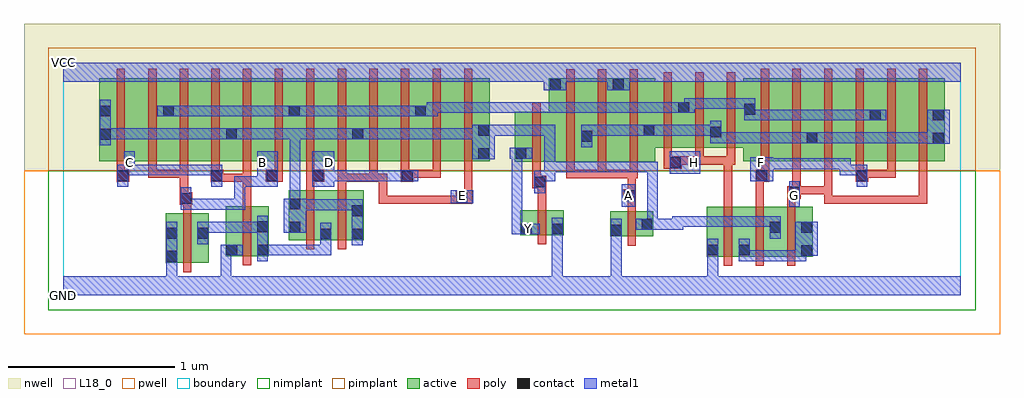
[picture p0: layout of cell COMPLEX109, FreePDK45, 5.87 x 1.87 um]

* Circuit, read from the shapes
.subckt COMPLEX109 A B C D E F G GND H VCC Y
M1 n1 B GND VSUBS nfet w=0.3u l=0.05u
M2 n1 C GND VSUBS nfet w=0.3u l=0.05u
M3 n1 D n2 VSUBS nfet w=0.3u l=0.05u
M4 n2 E n1 VSUBS nfet w=0.3u l=0.05u
M5 GND n2 Y VSUBS nfet w=0.15u l=0.05u
M6 n2 A GND VSUBS nfet w=0.15u l=0.05u
M7 n3 H GND VSUBS nfet w=0.3u l=0.05u
M8 n2 F n3 VSUBS nfet w=0.3u l=0.05u
M9 n3 G n2 VSUBS nfet w=0.3u l=0.05u
M10 n4 C n2 n5 pfet w=0.5u l=0.05u
M11 n6 B n4 n5 pfet w=0.5u l=0.05u
M12 n7 B n6 n5 pfet w=0.5u l=0.05u
M13 n2 C n7 n5 pfet w=0.5u l=0.05u
M14 n8 C n2 n5 pfet w=0.5u l=0.05u
M15 n6 B n8 n5 pfet w=0.5u l=0.05u
M16 n9 D n6 n5 pfet w=0.5u l=0.05u
M17 n2 E n9 n5 pfet w=0.5u l=0.05u
M18 n10 E n2 n5 pfet w=0.5u l=0.05u
M19 n6 D n10 n5 pfet w=0.5u l=0.05u
M20 n11 D n6 n5 pfet w=0.5u l=0.05u
M21 n2 E n11 n5 pfet w=0.5u l=0.05u
M22 VCC n2 Y n5 pfet w=0.3u l=0.05u
M23 n12 A VCC n5 pfet w=0.5u l=0.05u m=3
M24 n6 H n12 n5 pfet w=0.4u l=0.05u m=3
M25 n13 F n6 n5 pfet w=0.5u l=0.05u
M26 n12 G n13 n5 pfet w=0.5u l=0.05u
M27 n14 G n12 n5 pfet w=0.5u l=0.05u
M28 n6 F n14 n5 pfet w=0.5u l=0.05u
M29 n15 F n6 n5 pfet w=0.5u l=0.05u
M30 n12 G n15 n5 pfet w=0.5u l=0.05u
.ends

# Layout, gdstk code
import gdstk
lib = gdstk.Library(unit=1e-6, precision=1e-09)
def R(c, l, rs):  # rectangles x0, y0, x1, y1
    for r in rs: c.add(gdstk.rectangle(r[:2], r[2:], *l))
def A(c, l, x, y, w, h, nx, ny, dx, dy):  # array of equal rectangles
    R(c, l, [(x+i*dx, y+j*dy, x+i*dx+w, y+j*dy+h) for i in range(nx) for j in range(ny)])
active = (1, 0)
pwell = (2, 0)
nwell = (3, 0)
nimplant = (4, 0)
pimplant = (5, 0)
poly = (9, 0)
contact = (10, 0)
metal1 = (11, 0)
L18_0 = (18, 0)
boundary = (235, 0)

complex109 = lib.new_cell('COMPLEX109')
A(complex109, active, 4.317, 0.807, 0.225, 0.5, 3, 1, 0.38, 0)
R(complex109, active, [(0.617,0.195,0.692,0.495), (0.617,0.195,0.877,0.495), (0.802,0.2,0.877,0.482), (3.87,0.232,3.945,0.532), (3.87,0.232,4.135,0.532), (4.06,0.232,4.32,0.532), (4.245,0.232,4.51,0.532), (4.435,0.232,4.51,0.532), (0.977,0.235,1.237,0.535), (0.977,0.235,1.052,0.392), (1.162,0.235,1.237,0.535), (4.06,0.235,4.135,0.392), (4.245,0.33,4.32,0.447), (1.357,0.332,1.432,0.632), (1.357,0.332,1.617,0.632), (1.542,0.332,1.807,0.632), (1.542,0.332,1.617,0.497), (1.732,0.332,1.807,0.632), (3.29,0.355,3.55,0.505), (3.29,0.355,3.365,0.505), (2.75,0.362,3.01,0.512), (2.75,0.362,2.825,0.512), (2.935,0.362,3.01,0.512), (3.475,0.39,3.55,0.505), (2.717,0.805,2.997,1.105), (2.922,0.805,3.187,1.305), (3.112,0.805,3.377,1.305), (3.302,0.805,3.562,1.305), (0.217,0.807,0.442,1.307), (0.217,0.807,0.322,1.2), (0.442,0.807,0.672,1.307), (0.597,0.807,0.672,1.2), (0.597,0.807,0.822,1.307), (0.822,0.807,1.05,1.307), (0.975,0.807,1.05,1.07), (0.975,0.807,1.202,1.307), (1.202,0.807,1.427,1.307), (1.352,0.807,1.427,1.2), (1.352,0.807,1.582,1.307), (1.582,0.807,1.81,1.307), (1.735,0.807,1.81,1.07), (1.735,0.807,1.962,1.307), (1.962,0.807,2.187,1.307), (2.112,0.807,2.187,1.2), (2.112,0.807,2.342,1.307), (2.342,0.807,2.567,1.307), (2.492,0.807,2.567,1.07), (3.112,0.807,3.187,1.07), (3.302,0.807,3.377,1.305), (4.092,0.807,4.317,1.307), (4.467,0.807,4.697,1.307), (4.467,0.807,4.542,1.07), (4.847,0.807,4.922,1.2), (4.847,0.807,5.077,1.307), (5.227,0.807,5.302,1.2), (2.717,0.817,2.792,0.917), (2.922,0.865,2.997,1.305), (3.487,0.887,3.562,1.07), (3.487,0.887,3.77,1.287), (3.695,0.887,3.962,1.287), (3.695,0.887,3.77,1.2), (3.887,0.887,4.167,1.287), (3.887,0.887,3.962,1.07), (4.092,0.907,4.167,1.2)])
R(complex109, pwell, [(-0.235,-0.235,5.635,0.75)])
R(complex109, nwell, [(-0.235,0.75,5.635,1.635)])
R(complex109, nimplant, [(-0.09,-0.09,5.49,0.75)])
R(complex109, pimplant, [(-0.09,0.75,5.49,1.49)])
A(complex109, poly, 3.975, 0.177, 0.05, 0.41, 3, 1, 0.19, 0)
A(complex109, poly, 3.027, 0.705, 0.05, 0.095, 3, 1, 0.19, 0)
A(complex109, poly, 0.322, 0.707, 0.05, 0.095, 4, 1, 0.19, 0)
A(complex109, poly, 3.027, 0.75, 0.05, 0.61, 3, 1, 0.19, 0)
A(complex109, poly, 0.322, 0.752, 0.05, 0.61, 12, 1, 0.19, 0)
A(complex109, poly, 4.197, 0.752, 0.05, 0.61, 6, 1, 0.19, 0)
A(complex109, poly, 3.612, 0.787, 0.05, 0.095, 3, 1, 0.19, 0)
A(complex109, poly, 3.612, 0.832, 0.05, 0.51, 3, 1, 0.19, 0)
R(complex109, poly, [(0.722,0.14,0.772,0.55), (1.082,0.18,1.132,0.59), (1.462,0.277,1.512,0.687), (1.652,0.277,1.702,0.687), (3.395,0.3,3.445,0.56), (2.855,0.307,2.905,0.567), (0.722,0.5,0.772,0.595), (3.395,0.51,3.445,0.612), (2.855,0.517,2.905,0.695), (3.975,0.537,4.025,0.837), (4.165,0.537,4.215,0.732), (4.355,0.537,4.405,0.632), (1.082,0.54,1.132,0.732), (0.702,0.545,0.777,0.62), (1.9,0.55,2.082,0.6), (1.9,0.55,1.95,0.732), (2.032,0.55,2.082,0.6), (2.032,0.55,2.082,0.6), (2.032,0.55,2.082,0.6), (2.032,0.55,2.24,0.6), (2.19,0.55,2.24,0.6), (2.19,0.55,2.412,0.6), (2.362,0.55,2.412,0.6), (2.362,0.55,2.412,0.6), (2.362,0.55,2.412,0.6), (2.362,0.55,2.412,0.6), (2.362,0.55,2.462,0.625), (4.577,0.55,4.627,0.6), (4.577,0.55,4.627,0.6), (4.577,0.55,4.627,0.6), (4.577,0.55,4.875,0.6), (4.577,0.55,4.627,0.657), (4.825,0.55,4.875,0.6), (4.825,0.55,4.875,0.6), (4.825,0.55,4.875,0.6), (4.825,0.55,5.007,0.6), (4.957,0.55,5.007,0.6), (4.957,0.55,5.197,0.6), (5.147,0.55,5.197,0.802), (5.147,0.55,5.197,0.6), (5.147,0.55,5.197,0.6), (5.147,0.55,5.197,0.6), (5.147,0.55,5.197,0.6), (5.147,0.55,5.197,0.6), (3.37,0.562,3.445,0.637), (0.702,0.57,0.752,0.757), (2.412,0.575,2.462,0.802), (4.355,0.582,4.437,0.657), (3.395,0.587,3.445,0.755), (4.387,0.607,4.437,0.657), (4.387,0.607,4.437,0.657), (4.387,0.607,4.437,0.657), (4.387,0.607,4.437,0.657), (4.387,0.607,4.627,0.657), (4.387,0.607,4.437,0.802), (4.577,0.607,4.627,0.657), (4.577,0.607,4.627,0.802), (1.462,0.637,1.512,0.732), (1.652,0.637,1.702,0.732), (2.822,0.645,2.905,0.72), (2.855,0.645,2.905,0.695), (2.855,0.645,2.905,0.695), (2.822,0.67,2.872,0.8), (0.322,0.682,0.397,0.757), (0.887,0.682,0.962,0.757), (0.912,0.682,0.962,0.732), (0.912,0.682,0.962,0.732), (0.912,0.682,1.132,0.732), (1.082,0.682,1.132,0.732), (1.082,0.682,1.132,0.732), (1.082,0.682,1.132,0.732), (1.082,0.682,1.132,0.802), (1.22,0.682,1.322,0.757), (1.462,0.682,1.512,0.732), (1.462,0.682,1.512,0.732), (1.462,0.682,1.57,0.757), (1.652,0.682,1.702,0.732), (1.652,0.682,1.702,0.732), (1.652,0.682,1.702,0.732), (1.652,0.682,1.702,0.732), (1.652,0.682,1.702,0.732), (1.652,0.682,1.892,0.732), (1.652,0.682,1.702,0.802), (1.842,0.682,1.892,0.732), (1.842,0.682,1.892,0.732), (1.842,0.682,1.892,0.732), (1.842,0.682,1.95,0.732), (1.842,0.682,1.892,0.802), (2.032,0.682,2.107,0.757), (4.165,0.682,4.215,0.732), (4.165,0.682,4.215,0.732), (4.165,0.682,4.247,0.757), (4.767,0.682,4.842,0.757), (3.027,0.705,3.077,0.755), (3.027,0.705,3.11,0.755), (3.06,0.705,3.11,0.755), (3.06,0.705,3.267,0.755), (3.217,0.705,3.267,0.755), (3.217,0.705,3.445,0.755), (3.395,0.705,3.445,0.755), (3.395,0.705,3.445,0.755), (3.395,0.705,3.457,0.755), (0.512,0.707,0.562,0.757), (0.512,0.707,0.562,0.757), (0.512,0.707,0.562,0.757), (0.512,0.707,0.752,0.757), (0.702,0.707,0.752,0.757), (1.272,0.707,1.322,0.802), (1.462,0.707,1.512,0.802), (2.032,0.707,2.082,0.802), (2.057,0.707,2.107,0.757), (2.057,0.707,2.107,0.757), (2.057,0.707,2.272,0.757), (2.222,0.707,2.272,0.757), (2.222,0.707,2.272,0.802), (4.197,0.707,4.247,0.802), (4.767,0.707,4.817,0.802), (4.792,0.707,5.007,0.757), (4.957,0.707,5.007,0.757), (4.957,0.707,5.007,0.757), (4.957,0.707,5.007,0.757), (4.957,0.707,5.007,0.802), (2.822,0.75,2.872,1.16), (3.612,0.762,3.72,0.837), (3.67,0.787,3.72,0.837), (3.67,0.787,3.72,0.837), (3.67,0.787,3.852,0.837), (3.802,0.787,3.852,0.837), (3.802,0.787,4.025,0.837), (3.975,0.787,4.025,0.837), (3.975,0.787,4.025,0.837), (3.975,0.787,4.025,0.837), (3.975,0.787,4.025,0.837), (3.975,0.787,4.042,0.837)])
R(complex109, contact, [(0.622,0.202,0.687,0.267), (4.44,0.237,4.505,0.302), (0.982,0.24,1.047,0.305), (1.167,0.24,1.232,0.305), (3.875,0.24,3.94,0.305), (4.065,0.24,4.13,0.305), (1.547,0.337,1.612,0.402), (1.737,0.337,1.802,0.402), (0.622,0.342,0.687,0.407), (0.807,0.342,0.872,0.407), (3.295,0.36,3.36,0.425), (2.755,0.367,2.82,0.432), (2.94,0.367,3.005,0.432), (1.362,0.377,1.427,0.442), (4.25,0.377,4.315,0.442), (4.44,0.377,4.505,0.442), (1.167,0.38,1.232,0.445), (3.48,0.395,3.545,0.46), (1.737,0.477,1.802,0.542), (1.362,0.517,1.427,0.582), (0.707,0.55,0.772,0.615), (2.367,0.555,2.432,0.62), (3.375,0.567,3.44,0.632), (4.367,0.587,4.432,0.652), (2.835,0.65,2.9,0.715), (0.327,0.687,0.392,0.752), (0.892,0.687,0.957,0.752), (1.225,0.687,1.29,0.752), (1.5,0.687,1.565,0.752), (2.037,0.687,2.102,0.752), (4.17,0.687,4.235,0.752), (4.772,0.687,4.837,0.752), (3.65,0.767,3.715,0.832), (2.497,0.82,2.562,0.885), (2.722,0.822,2.787,0.887), (5.232,0.912,5.297,0.977), (4.472,0.915,4.537,0.98), (3.117,0.925,3.182,0.99), (0.222,0.937,0.287,1.002), (0.98,0.94,1.045,1.005), (1.74,0.94,1.805,1.005), (3.892,0.95,3.957,1.015), (2.497,0.96,2.562,1.025), (3.492,0.96,3.557,1.025), (4.852,1.052,4.917,1.117), (5.232,1.052,5.297,1.117), (0.222,1.077,0.287,1.142), (0.602,1.077,0.667,1.142), (1.357,1.077,1.422,1.142), (2.117,1.077,2.182,1.142), (4.097,1.087,4.162,1.152), (3.7,1.097,3.765,1.162), (2.927,1.235,2.992,1.3), (3.307,1.235,3.372,1.3)])
R(complex109, metal1, [(0,0,5.4,0.115), (0.622,0.05,0.687,0.115), (0.622,0.05,0.687,0.115), (0.622,0.05,0.687,0.232), (0.947,0.05,1.012,0.115), (0.947,0.05,1.012,0.115), (0.947,0.05,1.012,0.305), (2.94,0.05,3.005,0.397), (3.295,0.05,3.36,0.115), (3.295,0.05,3.36,0.115), (3.295,0.05,3.36,0.39), (3.875,0.05,3.94,0.115), (3.875,0.05,3.94,0.115), (3.875,0.05,3.94,0.27), (0.622,0.167,0.687,0.442), (1.167,0.205,1.232,0.48), (3.875,0.205,3.94,0.34), (4.065,0.205,4.13,0.27), (4.065,0.205,4.13,0.27), (4.065,0.205,4.13,0.34), (4.065,0.205,4.3,0.27), (4.235,0.205,4.3,0.27), (4.235,0.205,4.47,0.27), (4.405,0.205,4.47,0.302), (4.405,0.237,4.47,0.302), (4.405,0.237,4.54,0.442), (0.947,0.24,1.082,0.305), (1.167,0.24,1.232,0.305), (1.167,0.24,1.232,0.305), (1.167,0.24,1.387,0.305), (1.322,0.24,1.387,0.305), (1.322,0.24,1.612,0.305), (1.547,0.24,1.612,0.367), (1.547,0.302,1.612,0.367), (1.547,0.302,1.612,0.437), (1.737,0.302,1.802,0.577), (0.807,0.307,0.872,0.442), (3.295,0.325,3.36,0.39), (3.295,0.325,3.36,0.39), (3.295,0.325,3.36,0.46), (2.94,0.332,3.005,0.397), (2.94,0.332,3.005,0.397), (2.94,0.332,3.005,0.397), (2.94,0.332,3.005,0.397), (2.94,0.332,3.005,0.467), (4.25,0.342,4.315,0.477), (2.697,0.367,2.762,0.432), (2.697,0.367,2.762,0.432), (2.697,0.367,2.867,0.432), (2.697,0.367,2.762,0.887), (2.72,0.367,2.785,0.432), (2.72,0.367,2.855,0.432), (0.807,0.377,0.91,0.442), (0.845,0.377,0.91,0.442), (0.845,0.377,1.095,0.442), (1.03,0.377,1.095,0.442), (1.03,0.377,1.095,0.442), (1.03,0.377,1.095,0.442), (1.03,0.377,1.232,0.442), (1.327,0.377,1.462,0.582), (3.445,0.395,3.58,0.46), (3.512,0.395,3.577,0.805), (3.515,0.395,3.58,0.46), (3.515,0.395,3.58,0.46), (3.515,0.395,3.73,0.46), (3.665,0.395,3.73,0.46), (3.665,0.395,3.73,0.46), (3.665,0.395,3.73,0.477), (3.665,0.412,3.992,0.477), (3.927,0.412,3.992,0.477), (3.927,0.412,3.992,0.477), (3.927,0.412,3.992,0.477), (3.927,0.412,4.162,0.477), (4.097,0.412,4.162,0.477), (4.097,0.412,4.162,0.477), (4.097,0.412,4.162,0.477), (4.097,0.412,4.315,0.477), (1.397,0.512,1.632,0.577), (1.567,0.512,1.632,0.577), (1.567,0.512,1.632,0.577), (1.567,0.512,1.632,0.577), (1.567,0.512,1.77,0.577), (1.705,0.512,1.77,0.577), (1.705,0.512,1.802,0.577), (0.707,0.515,0.872,0.58), (0.707,0.515,0.772,0.65), (0.807,0.515,0.872,0.58), (0.807,0.515,0.91,0.58), (0.845,0.515,0.91,0.58), (0.845,0.515,1.095,0.58), (1.03,0.515,1.095,0.58), (1.03,0.515,1.095,0.717), (1.362,0.517,1.427,0.582), (1.362,0.517,1.427,0.582), (1.362,0.517,1.427,1.005), (3.36,0.532,3.44,0.667), (4.367,0.532,4.432,0.687), (2.332,0.555,2.467,0.632), (2.835,0.615,2.9,0.75), (0.327,0.652,0.392,0.787), (0.892,0.652,0.957,0.787), (1.03,0.652,1.095,0.717), (1.03,0.652,1.095,0.717), (1.03,0.652,1.095,0.717), (1.03,0.652,1.232,0.717), (1.167,0.652,1.232,0.717), (1.167,0.652,1.232,0.717), (1.167,0.652,1.29,0.867), (1.5,0.652,1.632,0.867), (4.772,0.652,4.837,0.787), (2.835,0.685,2.96,0.75), (2.895,0.685,2.96,0.805), (1.567,0.687,1.632,0.752), (1.567,0.687,1.632,0.752), (1.567,0.687,1.792,0.752), (1.727,0.687,1.792,0.752), (1.727,0.687,1.792,0.752), (1.727,0.687,1.792,0.752), (1.727,0.687,1.93,0.752), (1.865,0.687,1.93,0.752), (1.865,0.687,1.977,0.752), (1.912,0.687,1.977,0.752), (1.912,0.687,2.067,0.752), (2.002,0.687,2.137,0.752), (4.132,0.687,4.27,0.832), (0.327,0.722,0.432,0.787), (0.367,0.722,0.53,0.787), (0.367,0.722,0.432,0.867), (0.465,0.722,0.53,0.787), (0.465,0.722,0.735,0.787), (0.67,0.722,0.735,0.787), (0.67,0.722,0.735,0.787), (0.67,0.722,0.735,0.787), (0.67,0.722,0.872,0.787), (0.807,0.722,0.872,0.787), (0.807,0.722,0.957,0.787), (4.672,0.722,4.837,0.787), (4.672,0.722,4.737,0.825), (3.65,0.732,3.832,0.867), (2.895,0.74,3.097,0.805), (2.895,0.74,2.96,1.025), (3.032,0.74,3.097,0.805), (3.032,0.74,3.2,0.805), (3.135,0.74,3.2,0.805), (3.135,0.74,3.235,0.805), (3.17,0.74,3.235,0.805), (3.17,0.74,3.372,0.805), (3.307,0.74,3.372,0.805), (3.307,0.74,3.372,0.805), (3.307,0.74,3.372,0.805), (3.307,0.74,3.577,0.805), (3.512,0.74,3.577,0.805), (3.512,0.74,3.577,0.805), (3.512,0.74,3.577,0.805), (4.205,0.76,4.3,0.825), (4.235,0.76,4.3,0.825), (4.235,0.76,4.437,0.825), (4.372,0.76,4.437,0.825), (4.372,0.76,4.437,0.825), (4.372,0.76,4.437,0.825), (4.372,0.76,4.7,0.825), (4.635,0.76,4.7,0.825), (4.635,0.76,4.737,0.825), (2.462,0.82,2.597,1.025), (2.687,0.822,2.822,0.887), (3.117,0.89,3.182,1.025), (0.222,0.902,0.287,1.177), (5.197,0.912,5.332,1.117), (3.892,0.915,3.957,0.98), (3.892,0.915,3.957,0.98), (3.892,0.915,3.957,1.05), (3.892,0.915,4.162,0.98), (4.097,0.915,4.162,0.98), (4.097,0.915,4.162,0.98), (4.097,0.915,4.162,0.98), (4.097,0.915,4.3,0.98), (4.235,0.915,4.3,0.98), (4.235,0.915,4.502,0.98), (4.437,0.915,4.502,0.98), (4.437,0.915,4.502,0.98), (4.437,0.915,4.572,0.98), (4.507,0.915,4.64,0.98), (4.575,0.915,4.64,0.98), (4.575,0.915,4.745,0.98), (4.68,0.915,4.745,0.98), (4.68,0.915,4.987,0.98), (4.922,0.915,4.987,0.98), (4.922,0.915,4.987,0.98), (4.922,0.915,4.987,0.98), (4.922,0.915,5.125,0.98), (5.06,0.915,5.125,0.98), (5.06,0.915,5.125,0.98), (5.06,0.915,5.125,0.98), (5.06,0.915,5.262,0.98), (5.197,0.915,5.262,0.98), (5.197,0.915,5.262,0.98), (0.222,0.94,0.287,1.005), (0.222,0.94,0.287,1.005), (0.222,0.94,0.495,1.005), (0.43,0.94,0.495,1.005), (0.43,0.94,0.53,1.005), (0.465,0.94,0.53,1.005), (0.465,0.94,0.667,1.005), (0.602,0.94,0.667,1.005), (0.602,0.94,0.667,1.005), (0.602,0.94,0.667,1.005), (0.602,0.94,0.872,1.005), (0.807,0.94,0.872,1.005), (0.807,0.94,0.91,1.005), (0.845,0.94,0.91,1.005), (0.845,0.94,1.01,1.005), (0.945,0.94,1.08,1.005), (1.015,0.94,1.095,1.005), (1.03,0.94,1.095,1.005), (1.03,0.94,1.25,1.005), (1.185,0.94,1.25,1.005), (1.185,0.94,1.25,1.005), (1.185,0.94,1.25,1.005), (1.185,0.94,1.427,1.005), (1.362,0.94,1.427,1.005), (1.362,0.94,1.427,1.005), (1.362,0.94,1.427,1.005), (1.362,0.94,1.6,1.005), (1.535,0.94,1.6,1.005), (1.535,0.94,1.6,1.005), (1.535,0.94,1.6,1.005), (1.535,0.94,1.77,1.005), (1.705,0.94,1.77,1.005), (1.705,0.94,1.77,1.005), (1.705,0.94,1.84,1.005), (1.775,0.94,1.93,1.005), (1.865,0.94,1.93,1.005), (1.865,0.94,1.977,1.005), (1.912,0.94,1.977,1.005), (1.912,0.94,2.115,1.005), (2.05,0.94,2.115,1.005), (2.05,0.94,2.115,1.005), (2.05,0.94,2.115,1.005), (2.05,0.94,2.252,1.005), (2.187,0.94,2.252,1.005), (2.187,0.94,2.39,1.005), (2.325,0.94,2.39,1.005), (2.325,0.94,2.39,1.005), (2.325,0.94,2.39,1.005), (2.325,0.94,2.527,1.005), (2.532,0.96,2.597,1.025), (2.532,0.96,2.597,1.025), (2.532,0.96,2.597,1.025), (2.532,0.96,2.597,1.025), (2.532,0.96,2.96,1.025), (2.895,0.96,2.96,1.025), (2.895,0.96,2.96,1.025), (2.895,0.96,2.96,1.025), (2.895,0.96,2.96,1.025), (2.895,0.96,2.96,1.025), (3.117,0.96,3.235,1.025), (3.17,0.96,3.235,1.025), (3.17,0.96,3.372,1.025), (3.307,0.96,3.372,1.025), (3.307,0.96,3.372,1.025), (3.307,0.96,3.372,1.025), (3.307,0.96,3.522,1.025), (3.457,0.96,3.592,1.025), (3.527,0.96,3.592,1.025), (3.527,0.96,3.592,1.025), (3.527,0.96,3.73,1.025), (3.665,0.96,3.73,1.025), (3.665,0.96,3.73,1.025), (3.665,0.96,3.73,1.025), (3.665,0.96,3.957,1.025), (4.097,1.052,4.162,1.117), (4.097,1.052,4.162,1.117), (4.097,1.052,4.3,1.117), (4.097,1.052,4.162,1.187), (4.235,1.052,4.3,1.117), (4.235,1.052,4.502,1.117), (4.437,1.052,4.502,1.117), (4.437,1.052,4.502,1.117), (4.437,1.052,4.502,1.117), (4.437,1.052,4.7,1.117), (4.635,1.052,4.7,1.117), (4.635,1.052,4.71,1.117), (4.645,1.052,4.71,1.117), (4.645,1.052,4.882,1.117), (4.817,1.052,4.882,1.117), (4.817,1.052,4.882,1.117), (4.817,1.052,4.952,1.117), (0.567,1.077,0.702,1.142), (0.637,1.077,0.702,1.142), (0.637,1.077,0.702,1.142), (0.637,1.077,0.872,1.142), (0.807,1.077,0.872,1.142), (0.807,1.077,0.957,1.142), (0.892,1.077,0.957,1.142), (0.892,1.077,1.095,1.142), (1.03,1.077,1.095,1.142), (1.03,1.077,1.095,1.142), (1.03,1.077,1.095,1.142), (1.03,1.077,1.25,1.142), (1.185,1.077,1.25,1.142), (1.185,1.077,1.25,1.142), (1.185,1.077,1.25,1.142), (1.185,1.077,1.387,1.142), (1.322,1.077,1.457,1.142), (1.392,1.077,1.6,1.142), (1.535,1.077,1.6,1.142), (1.535,1.077,1.6,1.142), (1.535,1.077,1.6,1.142), (1.535,1.077,1.77,1.142), (1.705,1.077,1.77,1.142), (1.705,1.077,1.77,1.142), (1.705,1.077,1.77,1.142), (1.705,1.077,1.93,1.142), (1.865,1.077,1.93,1.142), (1.865,1.077,1.977,1.142), (1.912,1.077,1.977,1.142), (1.912,1.077,2.115,1.142), (2.05,1.077,2.115,1.142), (2.05,1.077,2.147,1.142), (2.082,1.077,2.217,1.142), (2.152,1.077,2.252,1.142), (2.187,1.077,2.252,1.162), (2.187,1.097,2.39,1.162), (2.325,1.097,2.39,1.162), (2.325,1.097,2.39,1.162), (2.325,1.097,2.39,1.162), (2.325,1.097,2.527,1.162), (2.462,1.097,2.527,1.162), (2.462,1.097,2.527,1.162), (2.462,1.097,2.527,1.162), (2.462,1.097,2.96,1.162), (2.895,1.097,2.96,1.162), (2.895,1.097,2.96,1.162), (2.895,1.097,2.96,1.162), (2.895,1.097,3.097,1.162), (3.032,1.097,3.097,1.162), (3.032,1.097,3.2,1.162), (3.135,1.097,3.2,1.162), (3.135,1.097,3.235,1.162), (3.17,1.097,3.235,1.162), (3.17,1.097,3.372,1.162), (3.307,1.097,3.372,1.162), (3.307,1.097,3.372,1.162), (3.307,1.097,3.372,1.162), (3.307,1.097,3.577,1.162), (3.512,1.097,3.577,1.162), (3.512,1.097,3.577,1.162), (3.512,1.097,3.577,1.162), (3.512,1.097,3.73,1.162), (3.665,1.097,3.8,1.162), (3.735,1.097,3.8,1.162), (3.735,1.097,3.8,1.187), (3.735,1.122,3.992,1.187), (3.927,1.122,3.992,1.187), (3.927,1.122,3.992,1.187), (3.927,1.122,3.992,1.187), (3.927,1.122,4.162,1.187), (2.892,1.235,3.027,1.3), (2.962,1.235,3.027,1.35), (3.272,1.235,3.407,1.3), (3.342,1.235,3.407,1.35), (0,1.285,5.4,1.4)])
A(complex109, L18_0, 2.367, 0.567, 0.065, 0.065, 3, 1, 1, 0)
R(complex109, L18_0, [(0,0,5.4,0.115), (0.622,0.05,0.687,0.115), (0.622,0.05,0.687,0.115), (0.622,0.05,0.687,0.232), (0.947,0.05,1.012,0.115), (0.947,0.05,1.012,0.115), (0.947,0.05,1.012,0.305), (2.94,0.05,3.005,0.397), (3.295,0.05,3.36,0.115), (3.295,0.05,3.36,0.115), (3.295,0.05,3.36,0.39), (3.875,0.05,3.94,0.115), (3.875,0.05,3.94,0.115), (3.875,0.05,3.94,0.27), (0.622,0.167,0.687,0.442), (3.875,0.205,3.94,0.34), (0.947,0.24,1.082,0.305), (3.295,0.325,3.36,0.46), (3.295,0.325,3.36,0.39), (3.295,0.325,3.36,0.39), (2.94,0.332,3.005,0.467), (2.94,0.332,3.005,0.397), (2.94,0.332,3.005,0.397), (2.94,0.332,3.005,0.397), (2.94,0.332,3.005,0.397), (2.697,0.367,2.762,0.432), (2.697,0.367,2.762,0.432), (2.697,0.367,2.867,0.432), (2.697,0.367,2.762,0.887), (2.72,0.367,2.785,0.432), (2.72,0.367,2.855,0.432), (2.767,0.367,2.832,0.432), (0.707,0.515,0.772,0.65), (0.707,0.515,0.872,0.58), (0.807,0.515,0.872,0.58), (0.807,0.515,0.91,0.58), (0.845,0.515,0.91,0.58), (0.845,0.515,1.095,0.58), (1.03,0.515,1.095,0.58), (1.03,0.515,1.095,0.717), (3.36,0.532,3.44,0.667), (4.367,0.532,4.432,0.687), (2.332,0.555,2.467,0.632), (0.327,0.652,0.392,0.787), (0.892,0.652,0.957,0.787), (1.03,0.652,1.095,0.717), (1.03,0.652,1.095,0.717), (1.03,0.652,1.095,0.717), (1.03,0.652,1.232,0.717), (1.167,0.652,1.232,0.717), (1.167,0.652,1.232,0.717), (1.167,0.652,1.29,0.867), (1.5,0.652,1.632,0.867), (4.772,0.652,4.837,0.787), (1.567,0.687,1.632,0.752), (1.567,0.687,1.632,0.752), (1.567,0.687,1.792,0.752), (1.727,0.687,1.792,0.752), (1.727,0.687,1.792,0.752), (1.727,0.687,1.792,0.752), (1.727,0.687,1.93,0.752), (1.865,0.687,1.93,0.752), (1.865,0.687,1.977,0.752), (1.912,0.687,1.977,0.752), (1.912,0.687,2.067,0.752), (2.002,0.687,2.137,0.752), (4.132,0.687,4.27,0.832), (0.327,0.722,0.432,0.787), (0.367,0.722,0.432,0.867), (0.367,0.722,0.53,0.787), (0.465,0.722,0.53,0.787), (0.465,0.722,0.735,0.787), (0.67,0.722,0.735,0.787), (0.67,0.722,0.735,0.787), (0.67,0.722,0.735,0.787), (0.67,0.722,0.872,0.787), (0.807,0.722,0.872,0.787), (0.807,0.722,0.957,0.787), (4.672,0.722,4.837,0.787), (4.672,0.722,4.737,0.825), (3.65,0.732,3.832,0.867), (4.205,0.76,4.3,0.825), (4.235,0.76,4.3,0.825), (4.235,0.76,4.437,0.825), (4.372,0.76,4.437,0.825), (4.372,0.76,4.437,0.825), (4.372,0.76,4.437,0.825), (4.372,0.76,4.7,0.825), (4.635,0.76,4.7,0.825), (4.635,0.76,4.737,0.825), (0.367,0.767,0.432,0.832), (1.167,0.767,1.232,0.832), (1.567,0.767,1.632,0.832), (3.767,0.767,3.832,0.832), (4.167,0.767,4.232,0.832), (2.687,0.822,2.822,0.887), (2.892,1.235,3.027,1.3), (2.962,1.235,3.027,1.35), (3.272,1.235,3.407,1.3), (3.342,1.235,3.407,1.35), (0,1.285,5.4,1.4)])
R(complex109, boundary, [(0,0,5.4,1.4)])
complex109.add(gdstk.Label('A', (3.4,0.6), layer=11, texttype=0))
complex109.add(gdstk.Label('B', (1.2,0.8), layer=11, texttype=0))
complex109.add(gdstk.Label('C', (0.4,0.8), layer=11, texttype=0))
complex109.add(gdstk.Label('D', (1.6,0.8), layer=11, texttype=0))
complex109.add(gdstk.Label('E', (2.4,0.6), layer=11, texttype=0))
complex109.add(gdstk.Label('F', (4.2,0.8), layer=11, texttype=0))
complex109.add(gdstk.Label('G', (4.4,0.6), layer=11, texttype=0))
complex109.add(gdstk.Label('H', (3.8,0.8), layer=11, texttype=0))
complex109.add(gdstk.Label('Y', (2.8,0.4), layer=11, texttype=0))
complex109.add(gdstk.Label('VCC', (0,1.4), layer=11, texttype=0))
complex109.add(gdstk.Label('GND', (0,0), layer=11, texttype=0))

lib.write_gds('COMPLEX109.gds')
